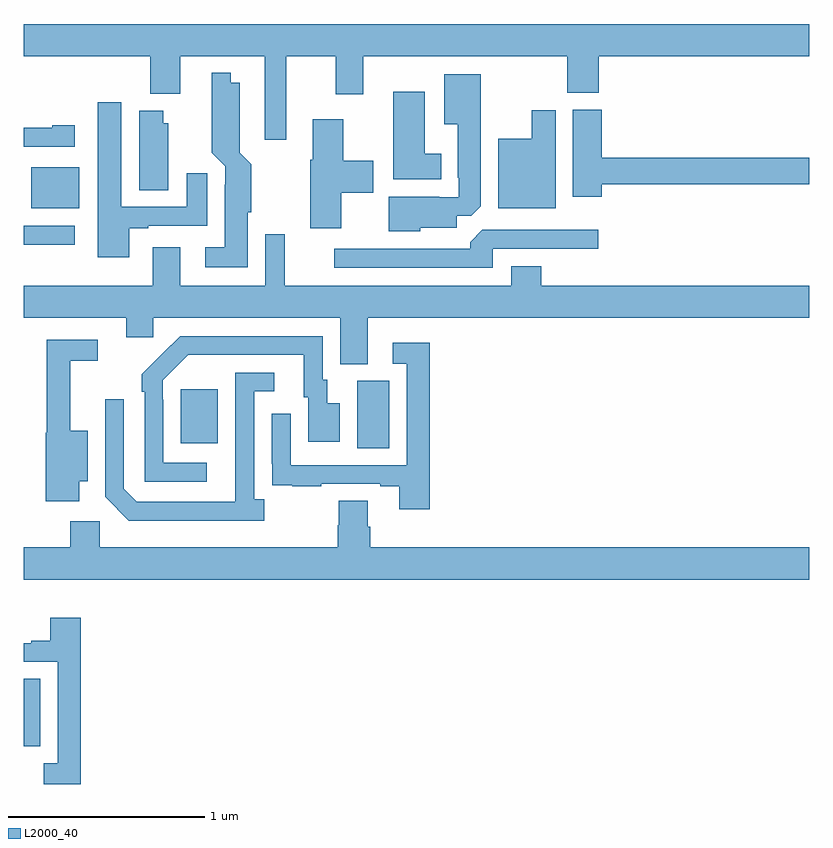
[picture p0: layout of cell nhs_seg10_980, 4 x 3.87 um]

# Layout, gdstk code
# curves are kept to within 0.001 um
import gdstk
lib = gdstk.Library(unit=1e-6, precision=1e-09)
def R(c, l, rs):  # rectangles x0, y0, x1, y1
    for r in rs: c.add(gdstk.rectangle(r[:2], r[2:], *l))
def P(c, l, *ps):  # polygons
    for p in ps: c.add(gdstk.Polygon(p, *l))
L2000_40 = (2000, 40)

nhs_seg10_980 = lib.new_cell('nhs_seg10_980')
R(nhs_seg10_980, L2000_40, [(161,1280.821,161.086,1281.164), (162.698,1282.336,162.862,1282.68), (161.801,1282.361,161.989,1282.636), (161,1283.373,161.26,1283.469), (161.039,1283.558,161.284,1283.767)])
P(nhs_seg10_980, L2000_40, [(161,1284.332),(161.645,1284.332),(161.645,1284.14),(161.797,1284.14),(161.797,1284.332),(162.227,1284.332),(162.227,1283.907),(162.337,1283.907),(162.337,1284.332),(162.59,1284.332),(162.59,1284.138),(162.73,1284.138),(162.73,1284.332),(163.768,1284.332),(163.768,1284.145),(163.928,1284.145),(163.928,1284.332),(165,1284.332),(165,1284.496),(161,1284.496)],
  [(162.142,1283.538),(162.16,1283.538),(162.16,1283.783),(162.101,1283.842),(162.1,1284.196),(162.055,1284.196),(162.055,1284.247),(161.958,1284.247),(161.957,1283.842),(162.027,1283.772),(162.027,1283.678),(162.023,1283.678),(162.023,1283.359),(161.925,1283.359),(161.925,1283.258),(162.142,1283.258)],
  [(163.02,1283.459),(163.204,1283.459),(163.204,1283.52),(163.278,1283.52),(163.327,1283.569),(163.327,1284.241),(163.142,1284.241),(163.142,1283.987),(163.211,1283.987),(163.211,1283.713),(163.215,1283.713),(163.215,1283.613),(163.115,1283.613),(163.115,1283.617),(162.86,1283.617),(162.86,1283.441),(163.02,1283.441)],
  [(163.126,1283.836),(163.042,1283.836),(163.042,1284.151),(162.881,1284.151),(162.881,1283.705),(163.126,1283.705)],
  [(161.539,1283.457),(161.635,1283.457),(161.635,1283.469),(161.935,1283.469),(161.935,1283.737),(161.831,1283.737),(161.831,1283.565),(161.497,1283.565),(161.497,1284.097),(161.378,1284.097),(161.378,1283.31),(161.539,1283.31)],
  [(163.943,1283.68),(165,1283.68),(165,1283.816),(163.943,1283.816),(163.943,1284.06),(163.796,1284.06),(163.796,1283.616),(163.943,1283.616)],
  [(163.708,1284.058),(163.586,1284.058),(163.586,1283.911),(163.415,1283.911),(163.415,1283.558),(163.708,1283.558)],
  [(161.737,1283.991),(161.71,1283.991),(161.71,1284.055),(161.588,1284.055),(161.588,1283.65),(161.737,1283.65)],
  [(162.616,1283.636),(162.781,1283.636),(162.781,1283.799),(162.628,1283.799),(162.628,1284.01),(162.473,1284.01),(162.473,1283.805),(162.458,1283.805),(162.458,1283.457),(162.616,1283.457)],
  [(161.26,1283.98),(161.147,1283.98),(161.147,1283.967),(161,1283.967),(161,1283.871),(161.26,1283.871)],
  [(163.389,1283.352),(163.924,1283.352),(163.924,1283.448),(163.335,1283.448),(163.274,1283.386),(163.274,1283.352),(162.582,1283.352),(162.582,1283.256),(163.389,1283.256)],
  [(162.751,1283),(165,1283),(165,1283.164),(163.634,1283.164),(163.634,1283.263),(163.481,1283.263),(163.481,1283.164),(162.33,1283.164),(162.33,1283.425),(162.231,1283.425),(162.231,1283.164),(161.797,1283.164),(161.797,1283.359),(161.657,1283.359),(161.657,1283.164),(161,1283.164),(161,1283),(161.522,1283),(161.522,1282.902),(161.661,1282.902),(161.661,1283),(162.611,1283),(162.611,1282.765),(162.751,1282.765)],
  [(161.932,1282.263),(161.712,1282.263),(161.712,1282.583),(161.709,1282.583),(161.709,1282.683),(161.838,1282.812),(162.425,1282.812),(162.425,1282.596),(162.449,1282.596),(162.449,1282.371),(162.61,1282.371),(162.61,1282.567),(162.547,1282.567),(162.547,1282.686),(162.522,1282.686),(162.522,1282.908),(161.798,1282.908),(161.601,1282.713),(161.601,1282.625),(161.616,1282.625),(161.616,1282.167),(161.932,1282.167)],
  [(161.284,1282.169),(161.326,1282.169),(161.326,1282.426),(161.237,1282.426),(161.237,1282.782),(161.377,1282.782),(161.377,1282.89),(161.119,1282.89),(161.119,1282.416),(161.114,1282.416),(161.114,1282.068),(161.284,1282.068)],
  [(163.067,1282.873),(162.879,1282.873),(162.879,1282.767),(162.951,1282.767),(162.951,1282.251),(162.36,1282.251),(162.36,1282.513),(162.264,1282.513),(162.264,1282.258),(162.265,1282.258),(162.265,1282.149),(162.367,1282.149),(162.367,1282.143),(162.515,1282.143),(162.515,1282.155),(162.815,1282.155),(162.815,1282.143),(162.911,1282.143),(162.911,1282.026),(163.067,1282.026)],
  [(162.226,1282.078),(162.174,1282.078),(162.174,1282.626),(162.277,1282.626),(162.277,1282.722),(162.078,1282.722),(162.077,1282.065),(161.577,1282.065),(161.511,1282.131),(161.511,1282.585),(161.415,1282.585),(161.415,1282.089),(161.536,1281.968),(162.226,1281.968)],
  [(165,1281.832),(162.764,1281.832),(162.764,1281.938),(162.751,1281.938),(162.751,1282.07),(162.604,1282.07),(162.604,1281.945),(162.599,1281.945),(162.599,1281.832),(161.388,1281.832),(161.388,1281.964),(161.237,1281.964),(161.237,1281.832),(161,1281.832),(161,1281.668),(165,1281.668)],
  [(161.291,1281.475),(161.135,1281.475),(161.135,1281.358),(161.039,1281.358),(161.039,1281.345),(161,1281.345),(161,1281.249),(161.175,1281.249),(161.175,1280.733),(161.103,1280.733),(161.103,1280.628),(161.291,1280.628)])

lib.write_gds('nhs_seg10_980.gds')
